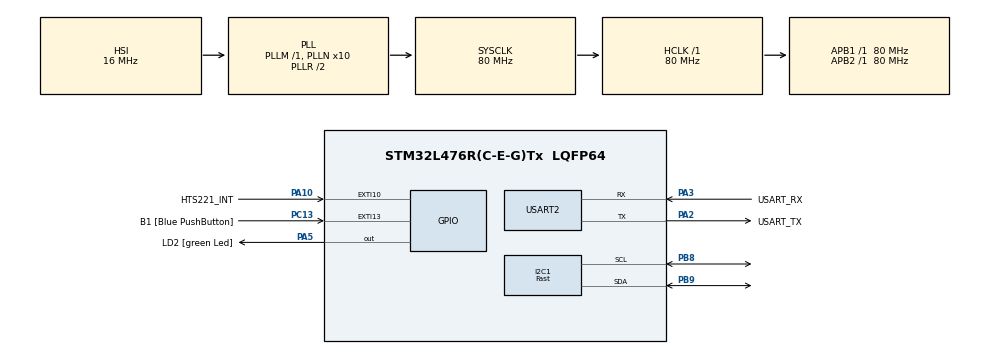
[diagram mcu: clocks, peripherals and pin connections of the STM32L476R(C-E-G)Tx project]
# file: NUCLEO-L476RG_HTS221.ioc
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I2C1.I2C_Speed_Mode=I2C_Fast
I2C1.Timing=0x00702991
Mcu.Family=STM32L4
Mcu.Name=STM32L476R(C-E-G)Tx
Mcu.Package=LQFP64
NVIC.EXTI15_10_IRQn=true\:0\:0\:false\:false\:true\:true\:true\:true
NVIC.PriorityGroup=NVIC_PRIORITYGROUP_4
PA10.GPIO_Label=HTS221_INT
PA10.Signal=GPXTI10
PA2.GPIO_Label=USART_TX
PA2.GPIO_Mode=GPIO_MODE_AF_PP
PA2.GPIO_PuPd=GPIO_NOPULL
PA2.GPIO_Speed=GPIO_SPEED_FREQ_VERY_HIGH
PA2.Mode=Asynchronous
PA2.Signal=USART2_TX
PA3.GPIO_Label=USART_RX
PA3.GPIO_Mode=GPIO_MODE_AF_PP
PA3.GPIO_PuPd=GPIO_NOPULL
PA3.GPIO_Speed=GPIO_SPEED_FREQ_VERY_HIGH
PA3.Mode=Asynchronous
PA3.Signal=USART2_RX
PA5.GPIO_Label=LD2 [green Led]
PA5.GPIO_ModeDefaultOutputPP=GPIO_MODE_OUTPUT_PP
PA5.GPIO_PuPd=GPIO_NOPULL
PA5.GPIO_Speed=GPIO_SPEED_FREQ_LOW
PA5.Signal=GPIO_Output
PB8.Mode=I2C
PB8.Signal=I2C1_SCL
PB9.Mode=I2C
PB9.Signal=I2C1_SDA
PC13.GPIO_Label=B1 [Blue PushButton]
PC13.GPIO_ModeDefaultEXTI=GPIO_MODE_IT_FALLING
PC13.GPIO_PuPd=GPIO_NOPULL
PC13.Signal=GPXTI13
ProjectManager.HeapSize=0x200
ProjectManager.StackSize=0x400
ProjectManager.TargetToolchain=STM32CubeIDE
RCC.ADCFreq_Value=64000000
RCC.AHBFreq_Value=80000000
RCC.APB1Freq_Value=80000000
RCC.APB1TimFreq_Value=80000000
RCC.APB2Freq_Value=80000000
RCC.APB2TimFreq_Value=80000000
RCC.CortexFreq_Value=80000000
RCC.HCLKFreq_Value=80000000
RCC.HSE_VALUE=8000000
RCC.HSI_VALUE=16000000
RCC.LSE_VALUE=32768
RCC.MSI_VALUE=4000000
RCC.PLLN=10
RCC.PLLSourceVirtual=RCC_PLLSOURCE_HSI
RCC.PREFETCH_ENABLE=1
RCC.SYSCLKFreq_VALUE=80000000
RCC.SYSCLKSource=RCC_SYSCLKSOURCE_PLLCLK
RCC.USBFreq_Value=64000000
RCC.VCOOutputFreq_Value=160000000
USART2.VirtualMode-Asynchronous=VM_ASYNC
board=NUCLEO-L476RG

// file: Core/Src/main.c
/* USER CODE BEGIN Header */
/**
  ******************************************************************************
  * @file           : main.c
  * @brief          : Main program body
  ******************************************************************************
  * @attention
  *
  * Copyright (c) 2022 STMicroelectronics.
  * All rights reserved.
  *
  * This software is licensed under terms that can be found in the LICENSE file
  * in the root directory of this software component.
  * If no LICENSE file comes with this software, it is provided AS-IS.
  *
  ******************************************************************************
  */
/* USER CODE END Header */
#include "main.h"

/* USER CODE BEGIN Includes */
#include <string.h>
#include <stdio.h>
#include "hts221_reg.h"
#include <cycle_dwt.h>
#include "NanoEdgeAI.h"

/* USER CODE END Includes */

/* USER CODE BEGIN PD */
/************************************************************ NEAI algorithm defines begin ************************************************************/
/************************************************************ Global settings part ************************************************************/
#ifndef SAMPLES
  #define SAMPLES           16           /* Should be between 16 & 4096 */
#endif
/************************************************************ Sensors configuration part ************************************************************/
#ifndef HUMIDITY_ODR
  #define HUMIDITY_ODR  HTS221_ODR_12Hz5  /* Shoud be between HTS221_ODR_1Hz and HTS221_ODR_12Hz5 */
#endif
/************************************************************ Datalogger / NEAI mode part ************************************************************/
#ifndef NEAI_MODE
  #define NEAI_MODE         0             /* 0: Datalogger mode, 1: NEAI functions mode */
#endif
#if (NEAI_MODE == 1)
  #ifndef NEAI_LEARN_NB
    #define NEAI_LEARN_NB   20            /* Number of buffers to be learn by the NEAI library */
  #endif
#endif
/************************************************************ NEAI algorithm defines end ************************************************************/
/* USER CODE END PD */

I2C_HandleTypeDef hi2c1;

UART_HandleTypeDef huart2;

/* USER CODE BEGIN PV */
static int16_t data_raw_humidity;
static uint8_t whoamI;
uint8_t neai_similarity = 0, neai_state = 0, first_comm = 1;
volatile uint8_t drdy = 0;
uint16_t neai_cnt = 0, drdy_counter = 0;
float neai_time = 0.0;
float neai_buffer[SAMPLES] = {0};
stmdev_ctx_t dev_ctx;
/* Structure used to apply coefficient on humidity data */
typedef struct {
  float x0;
  float y0;
  float x1;
  float y1;
} lin_t;
lin_t lin_hum;

/* USER CODE END PV */

void SystemClock_Config(void);
static void MX_GPIO_Init(void);
static void MX_I2C1_Init(void);
static void MX_USART2_UART_Init(void);
/* USER CODE BEGIN PFP */
static int32_t platform_write(void *handle, uint8_t reg, const uint8_t *bufp, uint16_t len);
static int32_t platform_read(void *handle, uint8_t reg, uint8_t *bufp, uint16_t len);
static void hts221_initialize(void);
static float hts221_linear_interpolation(lin_t *lin, int16_t x);
static void iks01a3_i2c_stuck_quirk(void);

/* USER CODE END PFP */

int main(void)
{
  /* USER CODE BEGIN 1 */
  /* Initialize mems driver interface */
  dev_ctx.write_reg = platform_write;
  dev_ctx.read_reg = platform_read;
  dev_ctx.handle = &hi2c1;
  /* USER CODE END 1 */

  /* MCU Configuration--------------------------------------------------------*/

  /* Reset of all peripherals, Initializes the Flash interface and the Systick. */
  HAL_Init();

  /* Configure the system clock */
  SystemClock_Config();

  /* USER CODE BEGIN SysInit */
  iks01a3_i2c_stuck_quirk();
  /* USER CODE END SysInit */

  /* Initialize all configured peripherals */
  MX_GPIO_Init();
  MX_I2C1_Init();
  MX_USART2_UART_Init();
  /* USER CODE BEGIN 2 */
  KIN1_InitCycleCounter();
  KIN1_EnableCycleCounter();
  hts221_initialize();
  if (NEAI_MODE) {
    neai_state = neai_anomalydetection_init();
    printf("Initialize NEAI library. NEAI init return: %d.\n",  neai_state);
  }
  /* USER CODE END 2 */

  /* Infinite loop */
  /* USER CODE BEGIN WHILE */
  while (1)
  {
    if (drdy) {
      /* Reset data ready condition */
      drdy = 0;
      /* Read humidity data */
      memset(&data_raw_humidity, 0x00, sizeof(int16_t));
      hts221_humidity_raw_get(&dev_ctx, &data_raw_humidity);
      neai_buffer[drdy_counter] = hts221_linear_interpolation(&lin_hum, data_raw_humidity);
      drdy_counter++;
      if (drdy_counter >= SAMPLES) {
        /* Device power off */
        hts221_power_on_set(&dev_ctx, PROPERTY_DISABLE);
#if NEAI_MODE
        uint32_t cycles_cnt = 0;
        if (neai_cnt < NEAI_LEARN_NB) {
          neai_cnt++;
          KIN1_ResetCycleCounter();
          neai_state = neai_anomalydetection_learn(neai_buffer);
          cycles_cnt = KIN1_GetCycleCounter();
          neai_time = (cycles_cnt * 1000000.0) / HAL_RCC_GetSysClockFreq();
          printf("Learn: %d / %d. NEAI learn return: %d. Cycles counter: %ld = %.1f µs at %ld Hz.\n",
                neai_cnt, NEAI_LEARN_NB, neai_state, cycles_cnt, neai_time, HAL_RCC_GetSysClockFreq());
        }
        else {
          KIN1_ResetCycleCounter();
          neai_state = neai_anomalydetection_detect(neai_buffer, &neai_similarity);
          cycles_cnt = KIN1_GetCycleCounter();
          neai_time = (cycles_cnt * 1000000.0) / HAL_RCC_GetSysClockFreq();
          printf("Similarity: %d / 100. NEAI detect return: %d. Cycles counter: %ld = %.1f µs at %ld Hz.\n",
                neai_similarity, neai_state, cycles_cnt, neai_time, HAL_RCC_GetSysClockFreq());
        }
#else
        for (uint16_t i = 0; i < SAMPLES; i++) {
          printf("%.3f ", neai_buffer[i]);
        }
        printf("\n");
#endif
        /* Reset drdy_counter in order to get a new buffer */
        drdy_counter = 0;
        /* Clean neai buffer */
        memset(neai_buffer, 0x00, SAMPLES * sizeof(float));
        /* Device power on */
        hts221_power_on_set(&dev_ctx, PROPERTY_ENABLE);
      }
    }
    /* USER CODE END WHILE */

  }
}

void SystemClock_Config(void)
{
  RCC_OscInitTypeDef RCC_OscInitStruct = {0};
  RCC_ClkInitTypeDef RCC_ClkInitStruct = {0};

  /** Configure the main internal regulator output voltage
  */
  if (HAL_PWREx_ControlVoltageScaling(PWR_REGULATOR_VOLTAGE_SCALE1) != HAL_OK)
  {
    Error_Handler();
  }

  /** Initializes the RCC Oscillators according to the specified parameters
  * in the RCC_OscInitTypeDef structure.
  */
  RCC_OscInitStruct.OscillatorType = RCC_OSCILLATORTYPE_HSI;
  RCC_OscInitStruct.HSIState = RCC_HSI_ON;
  RCC_OscInitStruct.HSICalibrationValue = RCC_HSICALIBRATION_DEFAULT;
  RCC_OscInitStruct.PLL.PLLState = RCC_PLL_ON;
  RCC_OscInitStruct.PLL.PLLSource = RCC_PLLSOURCE_HSI;
  RCC_OscInitStruct.PLL.PLLM = 1;
  RCC_OscInitStruct.PLL.PLLN = 10;
  RCC_OscInitStruct.PLL.PLLP = RCC_PLLP_DIV7;
  RCC_OscInitStruct.PLL.PLLQ = RCC_PLLQ_DIV2;
  RCC_OscInitStruct.PLL.PLLR = RCC_PLLR_DIV2;
  if (HAL_RCC_OscConfig(&RCC_OscInitStruct) != HAL_OK)
  {
    Error_Handler();
  }

  /** Initializes the CPU, AHB and APB buses clocks
  */
  RCC_ClkInitStruct.ClockType = RCC_CLOCKTYPE_HCLK|RCC_CLOCKTYPE_SYSCLK
                              |RCC_CLOCKTYPE_PCLK1|RCC_CLOCKTYPE_PCLK2;
  RCC_ClkInitStruct.SYSCLKSource = RCC_SYSCLKSOURCE_PLLCLK;
  RCC_ClkInitStruct.AHBCLKDivider = RCC_SYSCLK_DIV1;
  RCC_ClkInitStruct.APB1CLKDivider = RCC_HCLK_DIV1;
  RCC_ClkInitStruct.APB2CLKDivider = RCC_HCLK_DIV1;

  if (HAL_RCC_ClockConfig(&RCC_ClkInitStruct, FLASH_LATENCY_4) != HAL_OK)
  {
    Error_Handler();
  }
}

static void MX_I2C1_Init(void)
{

  hi2c1.Instance = I2C1;
  hi2c1.Init.Timing = 0x00702991;
  hi2c1.Init.OwnAddress1 = 0;
  hi2c1.Init.AddressingMode = I2C_ADDRESSINGMODE_7BIT;
  hi2c1.Init.DualAddressMode = I2C_DUALADDRESS_DISABLE;
  hi2c1.Init.OwnAddress2 = 0;
  hi2c1.Init.OwnAddress2Masks = I2C_OA2_NOMASK;
  hi2c1.Init.GeneralCallMode = I2C_GENERALCALL_DISABLE;
  hi2c1.Init.NoStretchMode = I2C_NOSTRETCH_DISABLE;
  if (HAL_I2C_Init(&hi2c1) != HAL_OK)
  {
    Error_Handler();
  }

  /** Configure Analogue filter
  */
  if (HAL_I2CEx_ConfigAnalogFilter(&hi2c1, I2C_ANALOGFILTER_ENABLE) != HAL_OK)
  {
    Error_Handler();
  }

  /** Configure Digital filter
  */
  if (HAL_I2CEx_ConfigDigitalFilter(&hi2c1, 0) != HAL_OK)
  {
    Error_Handler();
  }

}

static void MX_USART2_UART_Init(void)
{

  huart2.Instance = USART2;
  huart2.Init.BaudRate = 115200;
  huart2.Init.WordLength = UART_WORDLENGTH_8B;
  huart2.Init.StopBits = UART_STOPBITS_1;
  huart2.Init.Parity = UART_PARITY_NONE;
  huart2.Init.Mode = UART_MODE_TX_RX;
  huart2.Init.HwFlowCtl = UART_HWCONTROL_NONE;
  huart2.Init.OverSampling = UART_OVERSAMPLING_16;
  huart2.Init.OneBitSampling = UART_ONE_BIT_SAMPLE_DISABLE;
  huart2.AdvancedInit.AdvFeatureInit = UART_ADVFEATURE_NO_INIT;
  if (HAL_UART_Init(&huart2) != HAL_OK)
  {
    Error_Handler();
  }

}

static void MX_GPIO_Init(void)
{
  GPIO_InitTypeDef GPIO_InitStruct = {0};

  /* GPIO Ports Clock Enable */
  __HAL_RCC_GPIOC_CLK_ENABLE();
  __HAL_RCC_GPIOA_CLK_ENABLE();
  __HAL_RCC_GPIOB_CLK_ENABLE();

  /*Configure GPIO pin Output Level */
  HAL_GPIO_WritePin(LD2_GPIO_Port, LD2_Pin, GPIO_PIN_RESET);

  /*Configure GPIO pin : B1_Pin */
  GPIO_InitStruct.Pin = B1_Pin;
  GPIO_InitStruct.Mode = GPIO_MODE_IT_FALLING;
  GPIO_InitStruct.Pull = GPIO_NOPULL;
  HAL_GPIO_Init(B1_GPIO_Port, &GPIO_InitStruct);

  /*Configure GPIO pin : LD2_Pin */
  GPIO_InitStruct.Pin = LD2_Pin;
  GPIO_InitStruct.Mode = GPIO_MODE_OUTPUT_PP;
  GPIO_InitStruct.Pull = GPIO_NOPULL;
  GPIO_InitStruct.Speed = GPIO_SPEED_FREQ_LOW;
  HAL_GPIO_Init(LD2_GPIO_Port, &GPIO_InitStruct);

  /*Configure GPIO pin : HTS221_INT_Pin */
  GPIO_InitStruct.Pin = HTS221_INT_Pin;
  GPIO_InitStruct.Mode = GPIO_MODE_IT_RISING;
  GPIO_InitStruct.Pull = GPIO_NOPULL;
  HAL_GPIO_Init(HTS221_INT_GPIO_Port, &GPIO_InitStruct);

  /* EXTI interrupt init*/
  HAL_NVIC_SetPriority(EXTI15_10_IRQn, 0, 0);
  HAL_NVIC_EnableIRQ(EXTI15_10_IRQn);

}

/* USER CODE BEGIN 4 */
/**
  * @brief  Redirecting stdout to USART2 which is connected on the STLINK port
  * @retval
  * @param
  */
int __io_putchar(int ch)
{
 uint8_t c[1];
 c[0] = ch & 0x00FF;
 HAL_UART_Transmit(&huart2, &*c, 1, 10);
 return ch;
}

/**
  * @brief  EXTI line rising detection callback.
  * @param  GPIO_Pin Specifies the port pin connected to corresponding EXTI line.
  * @retval None
  */
void HAL_GPIO_EXTI_Callback(uint16_t GPIO_Pin)
{
  switch(GPIO_Pin) {
  case HTS221_INT_Pin:
    drdy = 1;
    break;
  }
}

/*
 * @brief  Write generic device register (platform dependent)
 *
 * @param  handle    customizable argument. In this examples is used in
 *                   order to select the correct sensor bus handler.
 * @param  reg       register to write
 * @param  bufp      pointer to data to write in register reg
 * @param  len       number of consecutive register to write
 *
 */
static int32_t platform_write(void *handle, uint8_t reg, const uint8_t *bufp, uint16_t len)
{
  /* Write multiple command */
  reg |= 0x80;
  HAL_I2C_Mem_Write(handle, HTS221_I2C_ADDRESS, reg, I2C_MEMADD_SIZE_8BIT, (uint8_t*) bufp, len, 1000);
  return 0;
}

/*
 * @brief  Read generic device register (platform dependent)
 *
 * @param  handle    customizable argument. In this examples is used in
 *                   order to select the correct sensor bus handler.
 * @param  reg       register to read
 * @param  bufp      pointer to buffer that store the data read
 * @param  len       number of consecutive register to read
 *
 */
static int32_t platform_read(void *handle, uint8_t reg, uint8_t *bufp, uint16_t len)
{
  /* Read multiple command */
  reg |= 0x80;
  HAL_I2C_Mem_Read(handle, HTS221_I2C_ADDRESS, reg, I2C_MEMADD_SIZE_8BIT, bufp, len, 1000);
  return 0;
}

/*
 * @brief  Initialize HTS221 sensor interface
 *
 * @param  No
 *
 * @return No
 *
 */
static void hts221_initialize()
{
  /* Check device ID */
  whoamI = 0;

  do {
    HAL_Delay(20);
    hts221_device_id_get(&dev_ctx, &whoamI);
  } while(whoamI != HTS221_ID);

  /* Read humidity calibration coefficient */
  hts221_hum_adc_point_0_get(&dev_ctx, &lin_hum.x0);
  hts221_hum_rh_point_0_get(&dev_ctx, &lin_hum.y0);
  hts221_hum_adc_point_1_get(&dev_ctx, &lin_hum.x1);
  hts221_hum_rh_point_1_get(&dev_ctx, &lin_hum.y1);
  /* Enable Block Data Update */
  hts221_block_data_update_set(&dev_ctx, PROPERTY_ENABLE);
  /* Set Output Data Rate */
  hts221_data_rate_set(&dev_ctx, HUMIDITY_ODR);
  /* Enable data ready on interrupt pin */
  hts221_drdy_on_int_set(&dev_ctx, PROPERTY_ENABLE);
  /* Device power on */
  hts221_power_on_set(&dev_ctx, PROPERTY_ENABLE);
  /* In order to avoid bug after "software reset" if
   * interrupt is still enabled at boot we get a dummy value
   */
  hts221_humidity_raw_get(&dev_ctx, &data_raw_humidity);
}

/*
 * @brief  Function used to apply calibration coefficients on the raw humidity data
 *
 * @param  lin  Humidity calibration coefficients
 * @param  x    Raw humidity data
 *
 * @return The humidity in percentage %
 *
 */
static float hts221_linear_interpolation(lin_t *lin, int16_t x)
{
  float percentage_hum = ((lin->y1 - lin->y0) * x + ((lin->x1 * lin->y0) -
          (lin->x0 * lin->y1))) / (lin->x1 - lin->x0);
  if (percentage_hum < 0.0) percentage_hum = 0.0;
  else if (percentage_hum > 100.0) percentage_hum = 100.0;
  return percentage_hum;
}

/*
 * Pressing the reset button while the sensor is answering to a read request
 * might lead to disaster.
 * In this case the device is stuck, waiting for pulses on SCL to finish the
 * previous transfer.
 * While stuck the sensor keep the SDA low.
 *
 * As a workaround we simply configure the SCL pin as a GPIO and send a burst
 * of pulses to bring the sensor back to an idle state.
 */
static void iks01a3_i2c_stuck_quirk(void)
{
  GPIO_InitTypeDef GPIO_InitStruct = {0};

  /* GPIO Ports Clock Enable */
  __HAL_RCC_GPIOB_CLK_ENABLE();

  /* Configure SCL as a GPIO */
  GPIO_InitStruct.Pin = SCL_PIN;
  GPIO_InitStruct.Mode = GPIO_MODE_OUTPUT_PP;
  GPIO_InitStruct.Pull = GPIO_NOPULL;
  GPIO_InitStruct.Speed = GPIO_SPEED_FREQ_LOW;
  GPIO_InitStruct.Alternate = GPIO_AF4_I2C1;
  HAL_GPIO_Init(SCL_PORT, &GPIO_InitStruct);

  /* Send a burst of pulses on SCL */
  int pulses = 20;
  do {
    HAL_Delay(1);
    HAL_GPIO_WritePin(SCL_PORT, SCL_PIN, GPIO_PIN_RESET);
    HAL_Delay(1);
    HAL_GPIO_WritePin(SCL_PORT, SCL_PIN, GPIO_PIN_SET);
  } while (pulses--);

  /* GPIO Ports Clock Enable */
  __HAL_RCC_GPIOB_CLK_DISABLE();
}

/* USER CODE END 4 */

void Error_Handler(void)
{
  __disable_irq();
  while (1)
  {
  }
}
